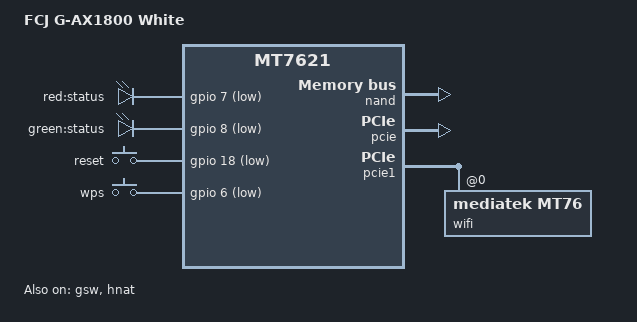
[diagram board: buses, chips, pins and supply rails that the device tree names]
// SPDX-License-Identifier: GPL-2.0-or-later OR MIT

#include "mt7621.dtsi"

#include <dt-bindings/gpio/gpio.h>
#include <dt-bindings/input/input.h>

/ {
	compatible = "fcj,g-ax1800-white", "mediatek,mt7621-soc";
	model = "FCJ G-AX1800 White";
	
	aliases {
		led-boot = &led_status_red;
		led-failsafe = &led_status_red;
		led-running = &led_status_green;
		led-upgrade = &led_status_red;
		label-mac-device = &gmac0;
	};

	chosen {
		bootargs = "console=ttyS0,115200n8";
	};

	leds {
		compatible = "gpio-leds";

		led_status_red: sys_red {
                        label = "red:status";
                        gpios = <&gpio 7 GPIO_ACTIVE_LOW>;
                };

                led_status_green: sys_green {
                        label = "green:status";
                        gpios = <&gpio 8 GPIO_ACTIVE_LOW>;
                };
	};

	keys {
		compatible = "gpio-keys";

		reset {
			label = "reset";
			gpios = <&gpio 18 GPIO_ACTIVE_LOW>;
			linux,code = <KEY_RESTART>;
		};

		wps {
			label = "wps";
			gpios = <&gpio 6 GPIO_ACTIVE_LOW>;
			linux,code = <KEY_WPS_BUTTON>;
		};
	};
};

&nand {
	status = "okay";

	partitions {
		compatible = "fixed-partitions";
		#address-cells = <1>;
		#size-cells = <1>;

		partition@0 {
			label = "Bootloader";
			reg = <0x0 0x80000>;
			read-only;
		};

		partition@80000 {
			label = "Nvram";
			reg = <0x80000 0x40000>;
			read-only;
		};

		partition@c0000 {
			label = "Bdata";
			reg = <0xc0000 0x40000>;
			read-only;
		};

		factory: partition@100000 {
			label = "factory";
			reg = <0x100000 0x80000>;
			read-only;
		};

		partition@180000 {
			label = "crash";
			reg = <0x180000 0x40000>;
			read-only;
		};

		partition@1c0000 {
			label = "crash_log";
			reg = <0x1c0000 0x40000>;
			read-only;
		};

		/* "kernel" and "ubi" partition is the result of
		 * squashing next consecutive stock partitions:
		 * 1. firmware  0x0200000 - 0x2000000 (Stock firmware 0)
		 * 2. firmware1 0x2000000 - 0x3e00000 (Stock firmware 1)
		 * 3. overlay   0x3e00000 - 0x7000000 (Stock fw Ubi overlay)
		 * 4. obr       0x7000000 - 0x8000000 (Unallocated?)
		 */

		partition@200000 {
			label = "kernel";
			reg = <0x200000 0x500000>;
		};

		partition@700000 {
			label = "ubi";
			reg = <0x700000 0x7880000>;
		};


		/*
		 * Leave 512 KiB for the bad block table
		 */
	};
};

&pcie {
	status = "okay";
};

&pcie1 {
	wifi@0,0 {
		compatible = "mediatek,mt76";
		reg = <0x0000 0 0 0 0>;
		mediatek,mtd-eeprom = <&factory 0x0>;
	};
};

&gmac0 {
	nvmem-cells = <&macaddr_factory_3fff4>;
	nvmem-cell-names = "mac-address";
};

&gmac1 {
	nvmem-cells = <&macaddr_factory_3fffa>;
	nvmem-cell-names = "mac-address";
};

&gsw {
	mediatek,portmap = "wllll";
	status = "okay";	
};


&switch0 {
	status = "disabled";
};

&hnat {
        mtketh-wan = "eth1";
        mtketh-ppd = "eth0";
        mtketh-lan = "eth0";
        mtketh-max-gmac = <2>;
        status = "okay";
};

&state_default {
	gpio {
		groups = "i2c", "uart3", "wdt";
		function = "gpio";
	};
};

&factory {
	compatible = "nvmem-cells";
	#address-cells = <1>;
	#size-cells = <1>;

	macaddr_factory_3fff4: macaddr@3fff4 {
		reg = <0x3fff4 0x6>;
	};

	macaddr_factory_3fffa: macaddr@3fffa {
		reg = <0x3fffa 0x6>;
	};
};
